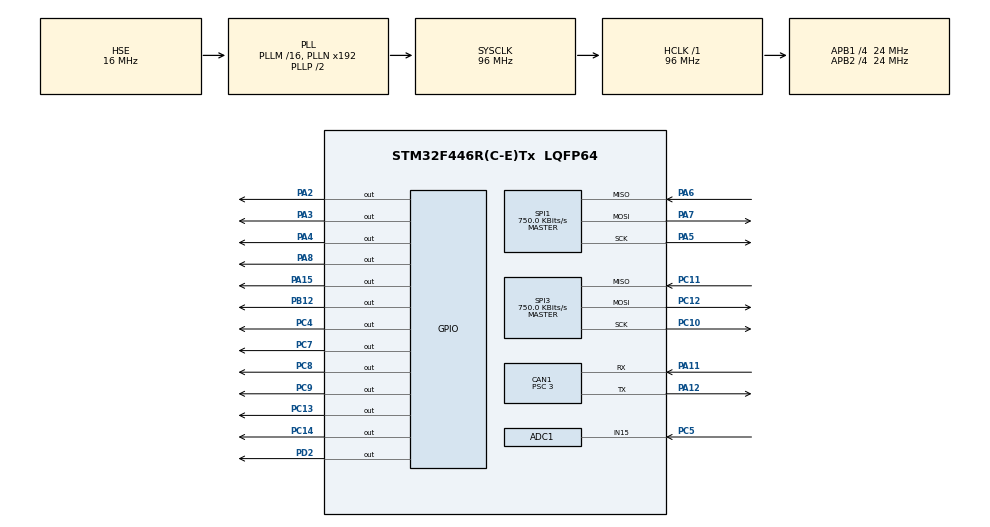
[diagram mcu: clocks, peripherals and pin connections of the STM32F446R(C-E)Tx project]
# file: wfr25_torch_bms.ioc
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ADC1.Channel-0\#ChannelRegularConversion=ADC_CHANNEL_15
ADC1.NbrOfConversionFlag=1
ADC1.Rank-0\#ChannelRegularConversion=1
ADC1.SamplingTime-0\#ChannelRegularConversion=ADC_SAMPLETIME_3CYCLES
ADC1.master=1
CAN1.BS1=CAN_BS1_11TQ
CAN1.BS2=CAN_BS2_4TQ
CAN1.CalculateBaudRate=500000
CAN1.CalculateTimeBit=2000
CAN1.CalculateTimeQuantum=125.0
CAN1.Mode=CAN_MODE_NORMAL
CAN1.Prescaler=3
Mcu.Family=STM32F4
Mcu.Name=STM32F446R(C-E)Tx
Mcu.Package=LQFP64
NVIC.CAN1_RX0_IRQn=true\:0\:0\:false\:false\:true\:true\:true\:true
NVIC.CAN1_RX1_IRQn=true\:0\:0\:false\:false\:true\:true\:true\:true
NVIC.PriorityGroup=NVIC_PRIORITYGROUP_4
PA11.Mode=CAN_Activate
PA11.Signal=CAN1_RX
PA12.Mode=CAN_Activate
PA12.Signal=CAN1_TX
PA13.Mode=Trace_Asynchronous_SW
PA13.Signal=SYS_JTMS-SWDIO
PA14.Mode=Trace_Asynchronous_SW
PA14.Signal=SYS_JTCK-SWCLK
PA15.Signal=GPIO_Output
PA2.Signal=GPIO_Output
PA3.Signal=GPIO_Output
PA4.Signal=GPIO_Output
PA5.Mode=Full_Duplex_Master
PA5.Signal=SPI1_SCK
PA6.Mode=Full_Duplex_Master
PA6.Signal=SPI1_MISO
PA7.Mode=Full_Duplex_Master
PA7.Signal=SPI1_MOSI
PA8.Signal=GPIO_Output
PB12.Signal=GPIO_Output
PB3.Mode=Trace_Asynchronous_SW
PB3.Signal=SYS_JTDO-SWO
PC10.Mode=Full_Duplex_Master
PC10.Signal=SPI3_SCK
PC11.Mode=Full_Duplex_Master
PC11.Signal=SPI3_MISO
PC12.Mode=Full_Duplex_Master
PC12.Signal=SPI3_MOSI
PC13.Signal=GPIO_Output
PC14-OSC32_IN.Signal=GPIO_Output
PC4.Signal=GPIO_Output
PC5.Signal=ADCx_IN15
PC7.Signal=GPIO_Output
PC8.Signal=GPIO_Output
PC9.Signal=GPIO_Output
PD2.Signal=GPIO_Output
PH0-OSC_IN.Mode=HSE-External-Oscillator
PH0-OSC_IN.Signal=RCC_OSC_IN
PH1-OSC_OUT.Mode=HSE-External-Oscillator
PH1-OSC_OUT.Signal=RCC_OSC_OUT
ProjectManager.HeapSize=0x200
ProjectManager.StackSize=0x400
ProjectManager.TargetToolchain=STM32CubeIDE
RCC.AHBFreq_Value=96000000
RCC.APB1CLKDivider=RCC_HCLK_DIV4
RCC.APB1Freq_Value=24000000
RCC.APB1TimFreq_Value=48000000
RCC.APB2CLKDivider=RCC_HCLK_DIV4
RCC.APB2Freq_Value=24000000
RCC.APB2TimFreq_Value=48000000
RCC.CortexFreq_Value=96000000
RCC.HCLKFreq_Value=96000000
RCC.HSE_VALUE=16000000
RCC.PLLSourceVirtual=RCC_PLLSOURCE_HSE
RCC.SYSCLKFreq_VALUE=96000000
RCC.SYSCLKSource=RCC_SYSCLKSOURCE_PLLCLK
RCC.USBFreq_Value=96000000
RCC.VCOOutputFreq_Value=192000000
SH.ADCx_IN15.0=ADC1_IN15,IN15
SPI1.BaudRatePrescaler=SPI_BAUDRATEPRESCALER_32
SPI1.CalculateBaudRate=750.0 KBits/s
SPI1.Direction=SPI_DIRECTION_2LINES
SPI1.Mode=SPI_MODE_MASTER
SPI1.VirtualType=VM_MASTER
SPI3.BaudRatePrescaler=SPI_BAUDRATEPRESCALER_32
SPI3.CalculateBaudRate=750.0 KBits/s
SPI3.Direction=SPI_DIRECTION_2LINES
SPI3.Mode=SPI_MODE_MASTER
SPI3.VirtualType=VM_MASTER
TIM2.Period=255
TIM2.Prescaler=187
VP_TIM2_VS_ClockSourceINT.Mode=Internal
board=custom

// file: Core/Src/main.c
/* USER CODE BEGIN Header */
/**
  ******************************************************************************
  * @file           : main.c
  * @brief          : Main program body
  ******************************************************************************
  * @attention
  *
  * Copyright (c) 2025 STMicroelectronics.
  * All rights reserved.
  *
  * This software is licensed under terms that can be found in the LICENSE file
  * in the root directory of this software component.
  * If no LICENSE file comes with this software, it is provided AS-IS.
  *
  ******************************************************************************
  */
/* USER CODE END Header */
#include "main.h"

/* USER CODE BEGIN Includes */
#include "torch_main.h"
#include "torch_stm32.h"
#include "torch_can.h"
#include "torch_dependencies.h"
/* USER CODE END Includes */

ADC_HandleTypeDef hadc1;

CAN_HandleTypeDef hcan1;

SPI_HandleTypeDef hspi1;
SPI_HandleTypeDef hspi3;

TIM_HandleTypeDef htim2;

void SystemClock_Config(void);
static void MX_GPIO_Init(void);
static void MX_SPI1_Init(void);
static void MX_SPI3_Init(void);
static void MX_ADC1_Init(void);
static void MX_TIM2_Init(void);
static void MX_CAN1_Init(void);

int main(void)
{

  /* MCU Configuration--------------------------------------------------------*/

  /* Reset of all peripherals, Initializes the Flash interface and the Systick. */
  HAL_Init();

  /* Configure the system clock */
  SystemClock_Config();

  /* Initialize all configured peripherals */
  MX_GPIO_Init();
  MX_SPI1_Init();
  MX_SPI3_Init();
  MX_ADC1_Init();
  MX_TIM2_Init();
  MX_CAN1_Init();
  /* USER CODE BEGIN 2 */
  torch_main();
  /* USER CODE END 2 */

  /* Infinite loop */
  while (1)
  {

  }
}

void SystemClock_Config(void)
{
  RCC_OscInitTypeDef RCC_OscInitStruct = {0};
  RCC_ClkInitTypeDef RCC_ClkInitStruct = {0};

  /** Configure the main internal regulator output voltage
  */
  __HAL_RCC_PWR_CLK_ENABLE();
  __HAL_PWR_VOLTAGESCALING_CONFIG(PWR_REGULATOR_VOLTAGE_SCALE3);

  /** Initializes the RCC Oscillators according to the specified parameters
  * in the RCC_OscInitTypeDef structure.
  */
  RCC_OscInitStruct.OscillatorType = RCC_OSCILLATORTYPE_HSE;
  RCC_OscInitStruct.HSEState = RCC_HSE_ON;
  RCC_OscInitStruct.PLL.PLLState = RCC_PLL_ON;
  RCC_OscInitStruct.PLL.PLLSource = RCC_PLLSOURCE_HSE;
  RCC_OscInitStruct.PLL.PLLM = 16;
  RCC_OscInitStruct.PLL.PLLN = 192;
  RCC_OscInitStruct.PLL.PLLP = RCC_PLLP_DIV2;
  RCC_OscInitStruct.PLL.PLLQ = 2;
  RCC_OscInitStruct.PLL.PLLR = 2;
  if (HAL_RCC_OscConfig(&RCC_OscInitStruct) != HAL_OK)
  {
    Error_Handler();
  }

  /** Initializes the CPU, AHB and APB buses clocks
  */
  RCC_ClkInitStruct.ClockType = RCC_CLOCKTYPE_HCLK|RCC_CLOCKTYPE_SYSCLK
                              |RCC_CLOCKTYPE_PCLK1|RCC_CLOCKTYPE_PCLK2;
  RCC_ClkInitStruct.SYSCLKSource = RCC_SYSCLKSOURCE_PLLCLK;
  RCC_ClkInitStruct.AHBCLKDivider = RCC_SYSCLK_DIV1;
  RCC_ClkInitStruct.APB1CLKDivider = RCC_HCLK_DIV4;
  RCC_ClkInitStruct.APB2CLKDivider = RCC_HCLK_DIV4;

  if (HAL_RCC_ClockConfig(&RCC_ClkInitStruct, FLASH_LATENCY_3) != HAL_OK)
  {
    Error_Handler();
  }
}

static void MX_ADC1_Init(void)
{

  ADC_ChannelConfTypeDef sConfig = {0};

  /** Configure the global features of the ADC (Clock, Resolution, Data Alignment and number of conversion)
  */
  hadc1.Instance = ADC1;
  hadc1.Init.ClockPrescaler = ADC_CLOCK_SYNC_PCLK_DIV2;
  hadc1.Init.Resolution = ADC_RESOLUTION_12B;
  hadc1.Init.ScanConvMode = DISABLE;
  hadc1.Init.ContinuousConvMode = DISABLE;
  hadc1.Init.DiscontinuousConvMode = DISABLE;
  hadc1.Init.ExternalTrigConvEdge = ADC_EXTERNALTRIGCONVEDGE_NONE;
  hadc1.Init.ExternalTrigConv = ADC_SOFTWARE_START;
  hadc1.Init.DataAlign = ADC_DATAALIGN_RIGHT;
  hadc1.Init.NbrOfConversion = 1;
  hadc1.Init.DMAContinuousRequests = DISABLE;
  hadc1.Init.EOCSelection = ADC_EOC_SINGLE_CONV;
  if (HAL_ADC_Init(&hadc1) != HAL_OK)
  {
    Error_Handler();
  }

  /** Configure for the selected ADC regular channel its corresponding rank in the sequencer and its sample time.
  */
  sConfig.Channel = ADC_CHANNEL_15;
  sConfig.Rank = 1;
  sConfig.SamplingTime = ADC_SAMPLETIME_3CYCLES;
  if (HAL_ADC_ConfigChannel(&hadc1, &sConfig) != HAL_OK)
  {
    Error_Handler();
  }

}

static void MX_CAN1_Init(void)
{

  hcan1.Instance = CAN1;
  hcan1.Init.Prescaler = 3;
  hcan1.Init.Mode = CAN_MODE_NORMAL;
  hcan1.Init.SyncJumpWidth = CAN_SJW_1TQ;
  hcan1.Init.TimeSeg1 = CAN_BS1_11TQ;
  hcan1.Init.TimeSeg2 = CAN_BS2_4TQ;
  hcan1.Init.TimeTriggeredMode = DISABLE;
  hcan1.Init.AutoBusOff = DISABLE;
  hcan1.Init.AutoWakeUp = DISABLE;
  hcan1.Init.AutoRetransmission = DISABLE;
  hcan1.Init.ReceiveFifoLocked = DISABLE;
  hcan1.Init.TransmitFifoPriority = DISABLE;
  if (HAL_CAN_Init(&hcan1) != HAL_OK)
  {
    Error_Handler();
  }
  /* USER CODE BEGIN CAN1_Init 2 */

  CAN_FilterTypeDef canFilter;

  canFilter.FilterActivation = CAN_FILTER_ENABLE;
  canFilter.FilterBank = 1;
  canFilter.FilterFIFOAssignment = CAN_RX_FIFO0;
  canFilter.FilterIdHigh = CAN_FAULT_ID << 5;
  canFilter.FilterIdLow = 0x0000;
  canFilter.FilterMaskIdHigh = 0xFFE0;
  canFilter.FilterMaskIdLow = 0x0000;
  canFilter.FilterMode = CAN_FILTERMODE_IDMASK;
  canFilter.FilterScale = CAN_FILTERSCALE_32BIT;
  HAL_CAN_ConfigFilter(&hcan1, &canFilter);

  canFilter.FilterBank = 2;
  canFilter.FilterIdHigh = CAN_START_BALANCE_ID << 5;
  HAL_CAN_ConfigFilter(&hcan1, &canFilter);

  canFilter.FilterBank = 3;
  canFilter.FilterIdHigh = CAN_STOP_BALANCE_ID << 5;
  HAL_CAN_ConfigFilter(&hcan1, &canFilter);

  canFilter.FilterBank = 4;
  canFilter.FilterFIFOAssignment = CAN_RX_FIFO1;
  canFilter.FilterIdHigh = CAN_PACK_STATUS_ID << 5;
  HAL_CAN_ConfigFilter(&hcan1, &canFilter);

  switch(moduleID) {
  	  case 1:
  		  canFilter.FilterBank = 5;
  		  canFilter.FilterFIFOAssignment = CAN_RX_FIFO0;
  		  canFilter.FilterIdHigh = CAN_M2_VMIN_ID << 5;
  		  HAL_CAN_ConfigFilter(&hcan1, &canFilter);

  		  canFilter.FilterBank = 6;
  		  canFilter.FilterIdHigh = CAN_M3_VMIN_ID << 5;
  		  HAL_CAN_ConfigFilter(&hcan1, &canFilter);

  		  canFilter.FilterBank = 7;
  		  canFilter.FilterIdHigh = CAN_M4_VMIN_ID << 5;
  		  HAL_CAN_ConfigFilter(&hcan1, &canFilter);

  		  canFilter.FilterBank = 8;
  		  canFilter.FilterIdHigh = CAN_M5_VMIN_ID << 5;
  		  HAL_CAN_ConfigFilter(&hcan1, &canFilter);
  		  break;
  	  default:
  		  canFilter.FilterBank = 5;
  		  canFilter.FilterFIFOAssignment = CAN_RX_FIFO0;
  		  canFilter.FilterIdHigh = CAN_EXTRACT_VMIN_ID << 5;
  		  HAL_CAN_ConfigFilter(&hcan1, &canFilter);

  		  canFilter.FilterBank = 6;
  		  canFilter.FilterIdHigh = CAN_MIN_VCELL_ID << 5;
  		  HAL_CAN_ConfigFilter(&hcan1, &canFilter);
  		  break;
  }

  /* USER CODE END CAN1_Init 2 */

}

static void MX_SPI1_Init(void)
{

  /* SPI1 parameter configuration*/
  hspi1.Instance = SPI1;
  hspi1.Init.Mode = SPI_MODE_MASTER;
  hspi1.Init.Direction = SPI_DIRECTION_2LINES;
  hspi1.Init.DataSize = SPI_DATASIZE_8BIT;
  hspi1.Init.CLKPolarity = SPI_POLARITY_LOW;
  hspi1.Init.CLKPhase = SPI_PHASE_1EDGE;
  hspi1.Init.NSS = SPI_NSS_SOFT;
  hspi1.Init.BaudRatePrescaler = SPI_BAUDRATEPRESCALER_32;
  hspi1.Init.FirstBit = SPI_FIRSTBIT_MSB;
  hspi1.Init.TIMode = SPI_TIMODE_DISABLE;
  hspi1.Init.CRCCalculation = SPI_CRCCALCULATION_DISABLE;
  hspi1.Init.CRCPolynomial = 10;
  if (HAL_SPI_Init(&hspi1) != HAL_OK)
  {
    Error_Handler();
  }

}

static void MX_SPI3_Init(void)
{

  /* SPI3 parameter configuration*/
  hspi3.Instance = SPI3;
  hspi3.Init.Mode = SPI_MODE_MASTER;
  hspi3.Init.Direction = SPI_DIRECTION_2LINES;
  hspi3.Init.DataSize = SPI_DATASIZE_8BIT;
  hspi3.Init.CLKPolarity = SPI_POLARITY_LOW;
  hspi3.Init.CLKPhase = SPI_PHASE_1EDGE;
  hspi3.Init.NSS = SPI_NSS_SOFT;
  hspi3.Init.BaudRatePrescaler = SPI_BAUDRATEPRESCALER_32;
  hspi3.Init.FirstBit = SPI_FIRSTBIT_MSB;
  hspi3.Init.TIMode = SPI_TIMODE_DISABLE;
  hspi3.Init.CRCCalculation = SPI_CRCCALCULATION_DISABLE;
  hspi3.Init.CRCPolynomial = 10;
  if (HAL_SPI_Init(&hspi3) != HAL_OK)
  {
    Error_Handler();
  }

}

static void MX_TIM2_Init(void)
{

  TIM_ClockConfigTypeDef sClockSourceConfig = {0};
  TIM_MasterConfigTypeDef sMasterConfig = {0};

  htim2.Instance = TIM2;
  htim2.Init.Prescaler = 187;
  htim2.Init.CounterMode = TIM_COUNTERMODE_UP;
  htim2.Init.Period = 255;
  htim2.Init.ClockDivision = TIM_CLOCKDIVISION_DIV1;
  htim2.Init.AutoReloadPreload = TIM_AUTORELOAD_PRELOAD_DISABLE;
  if (HAL_TIM_Base_Init(&htim2) != HAL_OK)
  {
    Error_Handler();
  }
  sClockSourceConfig.ClockSource = TIM_CLOCKSOURCE_INTERNAL;
  if (HAL_TIM_ConfigClockSource(&htim2, &sClockSourceConfig) != HAL_OK)
  {
    Error_Handler();
  }
  sMasterConfig.MasterOutputTrigger = TIM_TRGO_RESET;
  sMasterConfig.MasterSlaveMode = TIM_MASTERSLAVEMODE_DISABLE;
  if (HAL_TIMEx_MasterConfigSynchronization(&htim2, &sMasterConfig) != HAL_OK)
  {
    Error_Handler();
  }
  /* USER CODE BEGIN TIM2_Init 2 */
  HAL_NVIC_EnableIRQ(TIM2_IRQn);  // Enable TIM2 Interrupt in NVIC
  HAL_NVIC_SetPriority(TIM2_IRQn, 1, 0);  // Set Priority
  /* USER CODE END TIM2_Init 2 */

}

static void MX_GPIO_Init(void)
{
  GPIO_InitTypeDef GPIO_InitStruct = {0};

  /* GPIO Ports Clock Enable */
  __HAL_RCC_GPIOC_CLK_ENABLE();
  __HAL_RCC_GPIOH_CLK_ENABLE();
  __HAL_RCC_GPIOA_CLK_ENABLE();
  __HAL_RCC_GPIOB_CLK_ENABLE();
  __HAL_RCC_GPIOD_CLK_ENABLE();

  /*Configure GPIO pin Output Level */
  HAL_GPIO_WritePin(GPIOC, GPIO_PIN_13|GPIO_PIN_14|GPIO_PIN_4|GPIO_PIN_7
                          |GPIO_PIN_8|GPIO_PIN_9, GPIO_PIN_RESET);

  /*Configure GPIO pin Output Level */
  HAL_GPIO_WritePin(GPIOA, GPIO_PIN_2|GPIO_PIN_3|GPIO_PIN_4|GPIO_PIN_8
                          |GPIO_PIN_15, GPIO_PIN_RESET);

  /*Configure GPIO pin Output Level */
  HAL_GPIO_WritePin(GPIOB, GPIO_PIN_12, GPIO_PIN_RESET);

  /*Configure GPIO pin Output Level */
  HAL_GPIO_WritePin(GPIOD, GPIO_PIN_2, GPIO_PIN_RESET);

  /*Configure GPIO pins : PC13 PC14 PC4 PC7
                           PC8 PC9 */
  GPIO_InitStruct.Pin = GPIO_PIN_13|GPIO_PIN_14|GPIO_PIN_4|GPIO_PIN_7
                          |GPIO_PIN_8|GPIO_PIN_9;
  GPIO_InitStruct.Mode = GPIO_MODE_OUTPUT_PP;
  GPIO_InitStruct.Pull = GPIO_NOPULL;
  GPIO_InitStruct.Speed = GPIO_SPEED_FREQ_LOW;
  HAL_GPIO_Init(GPIOC, &GPIO_InitStruct);

  /*Configure GPIO pins : PA2 PA3 PA4 PA8
                           PA15 */
  GPIO_InitStruct.Pin = GPIO_PIN_2|GPIO_PIN_3|GPIO_PIN_4|GPIO_PIN_8
                          |GPIO_PIN_15;
  GPIO_InitStruct.Mode = GPIO_MODE_OUTPUT_PP;
  GPIO_InitStruct.Pull = GPIO_NOPULL;
  GPIO_InitStruct.Speed = GPIO_SPEED_FREQ_LOW;
  HAL_GPIO_Init(GPIOA, &GPIO_InitStruct);

  /*Configure GPIO pin : PB12 */
  GPIO_InitStruct.Pin = GPIO_PIN_12;
  GPIO_InitStruct.Mode = GPIO_MODE_OUTPUT_PP;
  GPIO_InitStruct.Pull = GPIO_NOPULL;
  GPIO_InitStruct.Speed = GPIO_SPEED_FREQ_LOW;
  HAL_GPIO_Init(GPIOB, &GPIO_InitStruct);

  /*Configure GPIO pin : PD2 */
  GPIO_InitStruct.Pin = GPIO_PIN_2;
  GPIO_InitStruct.Mode = GPIO_MODE_OUTPUT_PP;
  GPIO_InitStruct.Pull = GPIO_NOPULL;
  GPIO_InitStruct.Speed = GPIO_SPEED_FREQ_LOW;
  HAL_GPIO_Init(GPIOD, &GPIO_InitStruct);

}

/* USER CODE BEGIN 4 */
void TIM2_IRQHandler(void)
{
    HAL_TIM_IRQHandler(&htim2);  // Call HAL's IRQ handler
}

void HAL_TIM_PeriodElapsedCallback(TIM_HandleTypeDef *htim)
{
    if (htim->Instance == TIM2) {
        transmitCounter++;
        measureCounter++;
        balanceCounter++;
        diagnosisCounter++;
    }
}
/* USER CODE END 4 */

void Error_Handler(void)
{
  __disable_irq();
  while (1)
  {
  }
}
